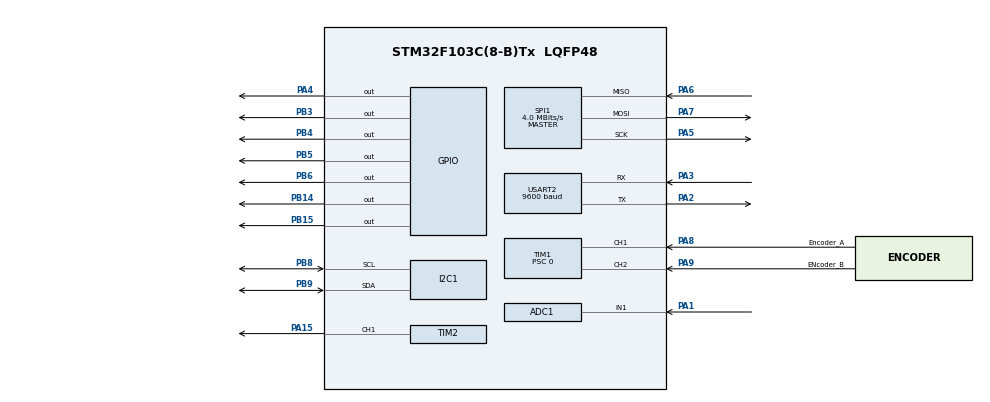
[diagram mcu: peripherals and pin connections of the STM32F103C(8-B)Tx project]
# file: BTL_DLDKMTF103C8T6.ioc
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ADC1.Channel-1\#ChannelRegularConversion=ADC_CHANNEL_1
ADC1.NbrOfConversionFlag=1
ADC1.Rank-1\#ChannelRegularConversion=1
ADC1.SamplingTime-1\#ChannelRegularConversion=ADC_SAMPLETIME_1CYCLE_5
ADC1.master=1
Dma.Request0=USART2_RX
Dma.Request1=USART2_TX
Dma.USART2_RX.0.Direction=DMA_PERIPH_TO_MEMORY
Dma.USART2_RX.0.Instance=DMA1_Channel6
Dma.USART2_RX.0.MemDataAlignment=DMA_MDATAALIGN_BYTE
Dma.USART2_RX.0.MemInc=DMA_MINC_ENABLE
Dma.USART2_RX.0.Mode=DMA_NORMAL
Dma.USART2_RX.0.PeriphDataAlignment=DMA_PDATAALIGN_BYTE
Dma.USART2_RX.0.PeriphInc=DMA_PINC_DISABLE
Dma.USART2_RX.0.Priority=DMA_PRIORITY_LOW
Dma.USART2_TX.1.Direction=DMA_MEMORY_TO_PERIPH
Dma.USART2_TX.1.Instance=DMA1_Channel7
Dma.USART2_TX.1.MemDataAlignment=DMA_MDATAALIGN_BYTE
Dma.USART2_TX.1.MemInc=DMA_MINC_ENABLE
Dma.USART2_TX.1.Mode=DMA_NORMAL
Dma.USART2_TX.1.PeriphDataAlignment=DMA_PDATAALIGN_BYTE
Dma.USART2_TX.1.PeriphInc=DMA_PINC_DISABLE
Dma.USART2_TX.1.Priority=DMA_PRIORITY_LOW
Mcu.Family=STM32F1
Mcu.Name=STM32F103C(8-B)Tx
Mcu.Package=LQFP48
NVIC.DMA1_Channel6_IRQn=true\:0\:0\:false\:false\:true\:false\:true\:true
NVIC.DMA1_Channel7_IRQn=true\:0\:0\:false\:false\:true\:false\:true\:true
NVIC.PriorityGroup=NVIC_PRIORITYGROUP_4
NVIC.TIM3_IRQn=true\:0\:0\:false\:false\:true\:true\:true\:true
NVIC.USART2_IRQn=true\:0\:0\:false\:false\:true\:true\:true\:true
PA1.Signal=ADCx_IN1
PA13.Mode=Serial_Wire
PA13.Signal=SYS_JTMS-SWDIO
PA14.Mode=Serial_Wire
PA14.Signal=SYS_JTCK-SWCLK
PA15.Signal=S_TIM2_CH1_ETR
PA2.Mode=Asynchronous
PA2.Signal=USART2_TX
PA3.Mode=Asynchronous
PA3.Signal=USART2_RX
PA4.GPIO_PuPd=GPIO_NOPULL
PA4.Signal=GPIO_Output
PA5.Mode=Full_Duplex_Master
PA5.Signal=SPI1_SCK
PA6.Mode=Full_Duplex_Master
PA6.Signal=SPI1_MISO
PA7.Mode=Full_Duplex_Master
PA7.Signal=SPI1_MOSI
PA8.GPIO_Label=Encoder_A
PA8.Signal=S_TIM1_CH1
PA9.GPIO_Label=ENcoder_B
PA9.Signal=S_TIM1_CH2
PB14.Signal=GPIO_Output
PB15.Signal=GPIO_Output
PB3.Signal=GPIO_Output
PB4.Signal=GPIO_Output
PB5.Signal=GPIO_Output
PB6.Signal=GPIO_Output
PB8.Mode=I2C
PB8.Signal=I2C1_SCL
PB9.Mode=I2C
PB9.Signal=I2C1_SDA
PD0-OSC_IN.Mode=HSE-External-Oscillator
PD0-OSC_IN.Signal=RCC_OSC_IN
PD1-OSC_OUT.Mode=HSE-External-Oscillator
PD1-OSC_OUT.Signal=RCC_OSC_OUT
ProjectManager.HeapSize=0x200
ProjectManager.StackSize=0x400
ProjectManager.TargetToolchain=STM32CubeIDE
RCC.APB1Freq_Value=8000000
RCC.APB2Freq_Value=8000000
SH.ADCx_IN1.0=ADC1_IN1,IN1
SH.S_TIM1_CH1.0=TIM1_CH1,Encoder_Interface
SH.S_TIM1_CH2.0=TIM1_CH2,Encoder_Interface
SH.S_TIM2_CH1_ETR.0=TIM2_CH1,PWM Generation1 CH1
SPI1.CalculateBaudRate=4.0 MBits/s
SPI1.Direction=SPI_DIRECTION_2LINES
SPI1.Mode=SPI_MODE_MASTER
SPI1.VirtualType=VM_MASTER
TIM1.EncoderMode=TIM_ENCODERMODE_TI12
TIM1.Period=65535
TIM1.Prescaler=0
TIM2.Channel-PWM\ Generation1\ CH1=TIM_CHANNEL_1
TIM2.Period=999
TIM2.Prescaler=7
TIM3.Period=999
TIM3.Prescaler=79
USART2.BaudRate=9600
USART2.VirtualMode=VM_ASYNC
VP_TIM3_VS_ClockSourceINT.Mode=Internal
board=custom

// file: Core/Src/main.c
/* USER CODE BEGIN Header */
/**
  ******************************************************************************
  * @file           : main.c
  * @brief          : Main program body
  ******************************************************************************
  * @attention
  *
  * Copyright (c) 2025 STMicroelectronics.
  * All rights reserved.
  *
  * This software is licensed under terms that can be found in the LICENSE file
  * in the root directory of this software component.
  * If no LICENSE file comes with this software, it is provided AS-IS.
  *
  ******************************************************************************
  */
/* USER CODE END Header */
#include "main.h"

/* USER CODE BEGIN Includes */
#include "SPI.h"
#include "Frame.h"
#include <math.h>
#include <motor.h>
#include <string.h>
#include "eprrom.h"

#include"motor.h"
#include"setting_PID.h"
#include"PID.h"
#include"reset_data.h"
#include"read_tick.h"
#include"process_read_tick.h"
#include"control_motor.h"
#include"interrupt.h"

/* USER CODE END Includes */

/* USER CODE BEGIN PM */

#define MAX_PWM 255
float uk = 254;
//tick_engine_rotation = tick_encoder_rotation*gear_ratio = 11*34 => read on 1 channel
#define PRES_TIM2 799 		// timer_clk = 0.1ms => T_period = 0.1*255 = 25.5 ms => f = 39.21 hz
/*SET UP TIMER 3*/
#define PRES_TIM3	7999 	// => timer_clk = 0.1 ms
#define resolution  1000 	// resolution = T / timer_clk = 10 ms / 0.1 ms = 100 hz
uint16_t counter_period = resolution - 1;
volatile uint8_t flag_10ms = 0,flag_1ms = 0,flag_1s = 0;

/*PID PARAMETER*/
double kp,ki,kd;
float output_val;
float setpoint_val;
uint8_t flag_start = 0,flag = 0;
float current_speed = 0;
uint16_t current_time,pre_time;
float rev_1m,rev_1s,tick_1s;
int16_t current_tick = 0,pre_tick = 0,now_tick = 0;
uint16_t tick_rpm = 0;

float out_pwm = 0;

frame_t transmit;
uint8_t RX_data[100];
uint8_t *tran_data;
uint16_t frameSize = 0;
uint8_t is_transmitting = 0;
uint8_t decode_payload[100] ;
uint8_t check_da[100] = {0};
uint8_t check_re[100] = {0};
uint8_t decode_frame[100];
uint8_t check_flag_complete_transmit = 0;
float position[4] = {0};
uint8_t flag_pos_mode = 0;
uint8_t floattobyte[4] = {0};
uint8_t trans_data[5000] = {0};
/* USER CODE END PM */

ADC_HandleTypeDef hadc1;

I2C_HandleTypeDef hi2c1;

SPI_HandleTypeDef hspi1;

TIM_HandleTypeDef htim1;
TIM_HandleTypeDef htim2;
TIM_HandleTypeDef htim3;

UART_HandleTypeDef huart2;
DMA_HandleTypeDef hdma_usart2_rx;
DMA_HandleTypeDef hdma_usart2_tx;

void SystemClock_Config(void);
static void MX_GPIO_Init(void);
static void MX_DMA_Init(void);
static void MX_SPI1_Init(void);
static void MX_TIM1_Init(void);
static void MX_USART2_UART_Init(void);
static void MX_I2C1_Init(void);
static void MX_TIM2_Init(void);
static void MX_TIM3_Init(void);
static void MX_ADC1_Init(void);

/* USER CODE BEGIN 0 */

void HAL_TIM_PeriodElapsedCallback(TIM_HandleTypeDef *htim){
	if (htim == &htim1 && is_transmitting == 0 && tran_data != NULL) {
	        is_transmitting = 1;  // Đánh dấu đang truyền
	        HAL_UART_Transmit_DMA(&huart2, tran_data,transmit.length + 7);
	}
	if(htim == &htim3){
		flag_10ms = 1;
	}
}
void Xuat_PWM_1(float Duty_Cycle)
{
	Duty_Cycle = Duty_Cycle*__HAL_TIM_GET_AUTORELOAD(&htim2)/100;
	__HAL_TIM_SET_COMPARE(&htim2,TIM_CHANNEL_1,Duty_Cycle);
}
void test_rev_1m(){
			//cach 1
	  	  	/*current_time = HAL_GetTick();
		  	if(current_time - pre_time >= 1000){
		  		current_tick = __HAL_TIM_GET_COUNTER(&htim1);
		  		tick_1s = current_tick - pre_tick;
		  	    rev_1s = tick_1s / tick_per_revolution;
		  	    rev_1m = rev_1s * 60;
		  	    pre_tick = current_tick;
		  	    pre_time = current_time;
		  	 }*/
		  	//cach 2
			if(flag_1s == 1){
				current_tick = __HAL_TIM_GET_COUNTER(&htim1);
				tick_1s = current_tick - pre_tick;
				rev_1s = tick_1s / 999;
				rev_1m = rev_1s * 60;
				pre_tick = current_tick;
				flag_1s = 0;
			}
		  	 HAL_GPIO_WritePin(GPIOB, GPIO_PIN_14,GPIO_PIN_RESET);
		     HAL_GPIO_WritePin(GPIOB, GPIO_PIN_15,GPIO_PIN_SET);

		     //Xuat_PWM_1(&htim2,TIM_CHANNEL_1,25);
}

void HAL_UARTEx_RxEventCallback(UART_HandleTypeDef *huart, uint16_t Size){
	if (huart != &huart2) return;

	    // nếu là half‑transfer (Size gần bằng half buffer) thì bỏ qua
	if (Size < 7) {
	        // re‑arm DMA và exit
	    HAL_UARTEx_ReceiveToIdle_DMA(huart, RX_data, sizeof(RX_data));
	    return;
	}
	check_flag_complete_transmit = 1;
	//transmit.length = floorf(5000/rx_data)*4; // so mau can lay
	//SendADCValue(&transmit); // sua cai nay
//	frameSize = 7 + transmit.length*4; //
//	tran_data = calloc(frameSize,sizeof(uint8_t));
//	packframe(tran_data, &transmit, 0x20);
//	HAL_TIM_Base_Start_IT(&htim1);
	HAL_UARTEx_ReceiveToIdle_DMA(&huart2, RX_data, 100);
}
void HAL_UART_TxCpltCallback(UART_HandleTypeDef *huart) {
    if (huart == &huart2) {
        free(tran_data);
        is_transmitting = 0;
    }
}
uint8_t check_data[5]={0};

motor_name motor;

// global hoặc static trong file
static uint16_t enc_last_cnt;
static int32_t  enc_accum_cnt;
uint8_t flag_velocity_0x70 = 0;
uint8_t flag_velocity_0x71 = 0;
uint8_t flag_velocity_0x72 = 0;
int16_t velocity = 0;
uint8_t duty = 0;
void Quay_Thuan()
{
	HAL_GPIO_WritePin(GPIOB ,GPIO_PIN_14, 0);
	HAL_GPIO_WritePin(GPIOB, GPIO_PIN_15, 1);
}
void Quay_Nghich()
{
	HAL_GPIO_WritePin(GPIOB ,GPIO_PIN_14, 1);
	HAL_GPIO_WritePin(GPIOB, GPIO_PIN_15, 0);
}
void Ngung()
{
	HAL_GPIO_WritePin(GPIOB ,GPIO_PIN_14, 0);
	HAL_GPIO_WritePin(GPIOB, GPIO_PIN_15, 0);
}
// global (hoặc static ở đầu file)
static uint16_t prev_cnt = 0;    // lưu giá trị counter lần trước
const float dt = 0.01f;          // 10 ms
const float ticks_per_rev = 1600; // nếu 1600 tick = 1 vòng
float calculate_rpm(void)
{
    // đọc counter 16‑bit
    uint16_t cnt = __HAL_TIM_GET_COUNTER(&htim3);

    // tính delta (có bù tràn tự động khi ép sang int16_t)
    int16_t diff = (int16_t)(cnt - prev_cnt);

    // cập nhật prev_cnt cho lần sau
    prev_cnt = cnt;

    // tính RPM: (số vòng = diff/ticks_per_rev), nhân 60/dt
    return (diff / ticks_per_rev) * (60.0f / dt);
}
float velocity_1;
float vel[4] = {0};
// gọi 1 lần sau khi start encoder

/* USER CODE END 0 */

int main(void)
{

  /* MCU Configuration--------------------------------------------------------*/

  /* Reset of all peripherals, Initializes the Flash interface and the Systick. */
  HAL_Init();

  /* Configure the system clock */
  SystemClock_Config();

  /* Initialize all configured peripherals */
  MX_GPIO_Init();
  MX_DMA_Init();
  MX_SPI1_Init();
  MX_TIM1_Init();
  MX_USART2_UART_Init();
  MX_I2C1_Init();
  MX_TIM2_Init();
  MX_TIM3_Init();
  MX_ADC1_Init();
  /* USER CODE BEGIN 2 */
  init_motor(&motor,GPIOB,GPIO_PIN_14,GPIOB,GPIO_PIN_15,TIM_CHANNEL_1,TIM_CHANNEL_2,TIM_CHANNEL_1);
  HAL_UARTEx_ReceiveToIdle_DMA(&huart2, RX_data, 100);
  HAL_TIM_Encoder_Start(&htim1,TIM_CHANNEL_1|TIM_CHANNEL_2);
  HAL_TIM_PWM_Start(&htim2, TIM_CHANNEL_1);
  HAL_TIM_Base_Start_IT(&htim3);
  uint8_t value[8]={0};
  Send_Value(value);

  /* USER CODE END 2 */

  /* Infinite loop */
  /* USER CODE BEGIN WHILE */
  while (1)
  {
	  Quay_Thuan();
	  		  		Xuat_PWM_1(100);
	  if(check_flag_complete_transmit == 1){
		  uint16_t addr = 0;
		  	uint8_t bytes = 0;
		  	//uint32_t rx_data = 0;
		  	Decode_frame(RX_data, &transmit);
		  	switch(transmit.command){
		  	case 0x21:
		  		HAL_GPIO_TogglePin(GPIOB, GPIO_PIN_3);
		  		break;
		  	case 0x22:
		  		HAL_GPIO_TogglePin(GPIOB,GPIO_PIN_4);
		  		break;
		  	case 0x23:
		  		HAL_GPIO_TogglePin(GPIOB,GPIO_PIN_5);
		  		break;
		  	case 0x30:
		  		bytes = transmit.length - 3;
		  		Decode_Payload(decode_payload, &transmit, &addr, &bytes);
		  		memcpy(check_da,decode_payload,bytes);
		  		EEPRROM_WriteBuffer(&hi2c1,addr,decode_payload,bytes);
		  		break;
		  	case 0x31:
		  		bytes = transmit.length - 3;
		  		Decode_Payload(decode_payload,&transmit,&addr,&bytes);
		  		EEPRROM_ReadBuffer(&hi2c1,addr,decode_payload,bytes);
		  		tran_data = calloc(frameSize,sizeof(uint8_t));
		  		transmit.length = bytes;
		  		packframe(tran_data, &transmit, decode_payload, 0x31);
		  		memcpy(check_re,tran_data,transmit.length + 7);
		  		HAL_UART_Transmit_DMA(&huart2, tran_data, transmit.length + 7);
		  		break;
		  	case 0x40:
		  		Send_Value(transmit.payload);
		  		break;
		  	case 0x60:  // control position
		  		Decode_Position(position, &transmit);
		  		kp = position[1];
		  		ki = position[2];
		  		kd = position[3];
		  		motor.setpoint_val = position[0];   // lấy mục tiêu từ payload
		  		// reset lịch sử lỗi & output để P tính ngay lập tức
		  		reset_data(&motor);
		  		flag_start   = 1;
		  		flag_pos_mode = 1;// bật chế độ PID
		  		break;
		  	case 0x70:
		  		Quay_Thuan();
		  		Xuat_PWM_1(transmit.payload[0]);
		  		flag_velocity_0x70 = 1;
		  		break;
		  	case 0x71:
		  		Quay_Nghich();
		  		Xuat_PWM_1(transmit.payload[0]);
		  		flag_velocity_0x71 = 1;
		  		break;
		  	case 0x72:
		  		Ngung();
		  		Xuat_PWM_1(transmit.payload[0]);
		  		flag_velocity_0x72 = 1;
		  	case 0x80:
		  		flag_velocity_0x70 = 0;
		  		flag_velocity_0x71 = 0;
		  		flag_velocity_0x72 = 0;
		  		flag_start = 0;
		  		break;
		  	}

		  	check_flag_complete_transmit = 0;
	  }
	  if (flag_10ms) {
		  output_val = calculate_current_angle(&motor);
		  if (flag_start) {
			  motor.kp = kp;
			  motor.ki = ki;
			  motor.kd = kd;
			  out_pwm = PID_Calculation(&motor, motor.setpoint_val, output_val);
			  control_motor_status(&motor,out_pwm);
			  // nếu đã sát đích, tắt điều khiển
			  if(fabs(motor.setpoint_val - output_val) < 2.0f) {
				  flag_start = 0;
				  flag_pos_mode = 0;
				  // và có thể dừng motor hẳn:
				  control_motor_status(&motor, 0);
			      }
		  }else{
			  out_pwm = 0;
			  output_val = 0;
			  PID_INIT_PARAM(&motor, setpoint_val, motor.kp, ki, kd);
		  }
		  if(flag_pos_mode && !is_transmitting){
			  transmit.length = 4;

			  FloatToBytes(output_val, floattobyte);
			  packframe(trans_data, &transmit, floattobyte, 0x60);
			  memcpy(check_da,trans_data,sizeof(uint8_t));
			  HAL_UART_Transmit_DMA(&huart2, trans_data, transmit.length + 7);
		  }
		  if(flag_velocity_0x70){
			  velocity = calculate_rpm();
			  FloatToBytes(velocity_1,vel);
			  packframe(trans_data,&transmit,vel,0x70);
			  HAL_UART_Transmit_DMA(&huart2, trans_data, 7 + transmit.length);
		  }
		  if(flag_velocity_0x71){
			  velocity = calculate_rpm();
			  FloatToBytes(velocity_1,vel);
			  packframe(trans_data, &transmit,vel,0x70);
			  HAL_UART_Transmit_DMA(&huart2, trans_data, 7 + transmit.length);
		  }
		  if(flag_velocity_0x72){
			  velocity = calculate_rpm();
			  FloatToBytes(velocity_1,vel);
			  packframe(trans_data, &transmit,vel,0x70);
			  HAL_UART_Transmit_DMA(&huart2, trans_data, 7 + transmit.length);
		  }
		  flag_10ms = 0;
	  }

  }
    /* USER CODE END WHILE */

}

void SystemClock_Config(void)
{
  RCC_OscInitTypeDef RCC_OscInitStruct = {0};
  RCC_ClkInitTypeDef RCC_ClkInitStruct = {0};
  RCC_PeriphCLKInitTypeDef PeriphClkInit = {0};

  /** Initializes the RCC Oscillators according to the specified parameters
  * in the RCC_OscInitTypeDef structure.
  */
  RCC_OscInitStruct.OscillatorType = RCC_OSCILLATORTYPE_HSI;
  RCC_OscInitStruct.HSIState = RCC_HSI_ON;
  RCC_OscInitStruct.HSICalibrationValue = RCC_HSICALIBRATION_DEFAULT;
  RCC_OscInitStruct.PLL.PLLState = RCC_PLL_NONE;
  if (HAL_RCC_OscConfig(&RCC_OscInitStruct) != HAL_OK)
  {
    Error_Handler();
  }

  /** Initializes the CPU, AHB and APB buses clocks
  */
  RCC_ClkInitStruct.ClockType = RCC_CLOCKTYPE_HCLK|RCC_CLOCKTYPE_SYSCLK
                              |RCC_CLOCKTYPE_PCLK1|RCC_CLOCKTYPE_PCLK2;
  RCC_ClkInitStruct.SYSCLKSource = RCC_SYSCLKSOURCE_HSI;
  RCC_ClkInitStruct.AHBCLKDivider = RCC_SYSCLK_DIV1;
  RCC_ClkInitStruct.APB1CLKDivider = RCC_HCLK_DIV1;
  RCC_ClkInitStruct.APB2CLKDivider = RCC_HCLK_DIV1;

  if (HAL_RCC_ClockConfig(&RCC_ClkInitStruct, FLASH_LATENCY_0) != HAL_OK)
  {
    Error_Handler();
  }
  PeriphClkInit.PeriphClockSelection = RCC_PERIPHCLK_ADC;
  PeriphClkInit.AdcClockSelection = RCC_ADCPCLK2_DIV2;
  if (HAL_RCCEx_PeriphCLKConfig(&PeriphClkInit) != HAL_OK)
  {
    Error_Handler();
  }
}

static void MX_ADC1_Init(void)
{

  ADC_ChannelConfTypeDef sConfig = {0};

  /** Common config
  */
  hadc1.Instance = ADC1;
  hadc1.Init.ScanConvMode = ADC_SCAN_DISABLE;
  hadc1.Init.ContinuousConvMode = DISABLE;
  hadc1.Init.DiscontinuousConvMode = DISABLE;
  hadc1.Init.ExternalTrigConv = ADC_SOFTWARE_START;
  hadc1.Init.DataAlign = ADC_DATAALIGN_RIGHT;
  hadc1.Init.NbrOfConversion = 1;
  if (HAL_ADC_Init(&hadc1) != HAL_OK)
  {
    Error_Handler();
  }

  /** Configure Regular Channel
  */
  sConfig.Channel = ADC_CHANNEL_1;
  sConfig.Rank = ADC_REGULAR_RANK_1;
  sConfig.SamplingTime = ADC_SAMPLETIME_1CYCLE_5;
  if (HAL_ADC_ConfigChannel(&hadc1, &sConfig) != HAL_OK)
  {
    Error_Handler();
  }

}

static void MX_I2C1_Init(void)
{

  hi2c1.Instance = I2C1;
  hi2c1.Init.ClockSpeed = 100000;
  hi2c1.Init.DutyCycle = I2C_DUTYCYCLE_2;
  hi2c1.Init.OwnAddress1 = 0;
  hi2c1.Init.AddressingMode = I2C_ADDRESSINGMODE_7BIT;
  hi2c1.Init.DualAddressMode = I2C_DUALADDRESS_DISABLE;
  hi2c1.Init.OwnAddress2 = 0;
  hi2c1.Init.GeneralCallMode = I2C_GENERALCALL_DISABLE;
  hi2c1.Init.NoStretchMode = I2C_NOSTRETCH_DISABLE;
  if (HAL_I2C_Init(&hi2c1) != HAL_OK)
  {
    Error_Handler();
  }

}

static void MX_SPI1_Init(void)
{

  /* SPI1 parameter configuration*/
  hspi1.Instance = SPI1;
  hspi1.Init.Mode = SPI_MODE_MASTER;
  hspi1.Init.Direction = SPI_DIRECTION_2LINES;
  hspi1.Init.DataSize = SPI_DATASIZE_8BIT;
  hspi1.Init.CLKPolarity = SPI_POLARITY_LOW;
  hspi1.Init.CLKPhase = SPI_PHASE_1EDGE;
  hspi1.Init.NSS = SPI_NSS_SOFT;
  hspi1.Init.BaudRatePrescaler = SPI_BAUDRATEPRESCALER_2;
  hspi1.Init.FirstBit = SPI_FIRSTBIT_MSB;
  hspi1.Init.TIMode = SPI_TIMODE_DISABLE;
  hspi1.Init.CRCCalculation = SPI_CRCCALCULATION_DISABLE;
  hspi1.Init.CRCPolynomial = 10;
  if (HAL_SPI_Init(&hspi1) != HAL_OK)
  {
    Error_Handler();
  }

}

static void MX_TIM1_Init(void)
{

  TIM_Encoder_InitTypeDef sConfig = {0};
  TIM_MasterConfigTypeDef sMasterConfig = {0};

  htim1.Instance = TIM1;
  htim1.Init.Prescaler = 0;
  htim1.Init.CounterMode = TIM_COUNTERMODE_UP;
  htim1.Init.Period = 65535;
  htim1.Init.ClockDivision = TIM_CLOCKDIVISION_DIV1;
  htim1.Init.RepetitionCounter = 0;
  htim1.Init.AutoReloadPreload = TIM_AUTORELOAD_PRELOAD_DISABLE;
  sConfig.EncoderMode = TIM_ENCODERMODE_TI12;
  sConfig.IC1Polarity = TIM_ICPOLARITY_RISING;
  sConfig.IC1Selection = TIM_ICSELECTION_DIRECTTI;
  sConfig.IC1Prescaler = TIM_ICPSC_DIV1;
  sConfig.IC1Filter = 0;
  sConfig.IC2Polarity = TIM_ICPOLARITY_RISING;
  sConfig.IC2Selection = TIM_ICSELECTION_DIRECTTI;
  sConfig.IC2Prescaler = TIM_ICPSC_DIV1;
  sConfig.IC2Filter = 0;
  if (HAL_TIM_Encoder_Init(&htim1, &sConfig) != HAL_OK)
  {
    Error_Handler();
  }
  sMasterConfig.MasterOutputTrigger = TIM_TRGO_RESET;
  sMasterConfig.MasterSlaveMode = TIM_MASTERSLAVEMODE_DISABLE;
  if (HAL_TIMEx_MasterConfigSynchronization(&htim1, &sMasterConfig) != HAL_OK)
  {
    Error_Handler();
  }

}

static void MX_TIM2_Init(void)
{

  TIM_MasterConfigTypeDef sMasterConfig = {0};
  TIM_OC_InitTypeDef sConfigOC = {0};

  htim2.Instance = TIM2;
  htim2.Init.Prescaler = 7;
  htim2.Init.CounterMode = TIM_COUNTERMODE_UP;
  htim2.Init.Period = 999;
  htim2.Init.ClockDivision = TIM_CLOCKDIVISION_DIV1;
  htim2.Init.AutoReloadPreload = TIM_AUTORELOAD_PRELOAD_DISABLE;
  if (HAL_TIM_PWM_Init(&htim2) != HAL_OK)
  {
    Error_Handler();
  }
  sMasterConfig.MasterOutputTrigger = TIM_TRGO_RESET;
  sMasterConfig.MasterSlaveMode = TIM_MASTERSLAVEMODE_DISABLE;
  if (HAL_TIMEx_MasterConfigSynchronization(&htim2, &sMasterConfig) != HAL_OK)
  {
    Error_Handler();
  }
  sConfigOC.OCMode = TIM_OCMODE_PWM1;
  sConfigOC.Pulse = 0;
  sConfigOC.OCPolarity = TIM_OCPOLARITY_HIGH;
  sConfigOC.OCFastMode = TIM_OCFAST_DISABLE;
  if (HAL_TIM_PWM_ConfigChannel(&htim2, &sConfigOC, TIM_CHANNEL_1) != HAL_OK)
  {
    Error_Handler();
  }
  HAL_TIM_MspPostInit(&htim2);

}

static void MX_TIM3_Init(void)
{

  TIM_ClockConfigTypeDef sClockSourceConfig = {0};
  TIM_MasterConfigTypeDef sMasterConfig = {0};

  htim3.Instance = TIM3;
  htim3.Init.Prescaler = 79;
  htim3.Init.CounterMode = TIM_COUNTERMODE_UP;
  htim3.Init.Period = 999;
  htim3.Init.ClockDivision = TIM_CLOCKDIVISION_DIV1;
  htim3.Init.AutoReloadPreload = TIM_AUTORELOAD_PRELOAD_DISABLE;
  if (HAL_TIM_Base_Init(&htim3) != HAL_OK)
  {
    Error_Handler();
  }
  sClockSourceConfig.ClockSource = TIM_CLOCKSOURCE_INTERNAL;
  if (HAL_TIM_ConfigClockSource(&htim3, &sClockSourceConfig) != HAL_OK)
  {
    Error_Handler();
  }
  sMasterConfig.MasterOutputTrigger = TIM_TRGO_RESET;
  sMasterConfig.MasterSlaveMode = TIM_MASTERSLAVEMODE_DISABLE;
  if (HAL_TIMEx_MasterConfigSynchronization(&htim3, &sMasterConfig) != HAL_OK)
  {
    Error_Handler();
  }

}

static void MX_USART2_UART_Init(void)
{

  huart2.Instance = USART2;
  huart2.Init.BaudRate = 9600;
  huart2.Init.WordLength = UART_WORDLENGTH_8B;
  huart2.Init.StopBits = UART_STOPBITS_1;
  huart2.Init.Parity = UART_PARITY_NONE;
  huart2.Init.Mode = UART_MODE_TX_RX;
  huart2.Init.HwFlowCtl = UART_HWCONTROL_NONE;
  huart2.Init.OverSampling = UART_OVERSAMPLING_16;
  if (HAL_UART_Init(&huart2) != HAL_OK)
  {
    Error_Handler();
  }

}

static void MX_DMA_Init(void)
{

  /* DMA controller clock enable */
  __HAL_RCC_DMA1_CLK_ENABLE();

  /* DMA interrupt init */
  /* DMA1_Channel6_IRQn interrupt configuration */
  HAL_NVIC_SetPriority(DMA1_Channel6_IRQn, 0, 0);
  HAL_NVIC_EnableIRQ(DMA1_Channel6_IRQn);
  /* DMA1_Channel7_IRQn interrupt configuration */
  HAL_NVIC_SetPriority(DMA1_Channel7_IRQn, 0, 0);
  HAL_NVIC_EnableIRQ(DMA1_Channel7_IRQn);

}

static void MX_GPIO_Init(void)
{
  GPIO_InitTypeDef GPIO_InitStruct = {0};

  /* GPIO Ports Clock Enable */
  __HAL_RCC_GPIOD_CLK_ENABLE();
  __HAL_RCC_GPIOA_CLK_ENABLE();
  __HAL_RCC_GPIOB_CLK_ENABLE();

  /*Configure GPIO pin Output Level */
  HAL_GPIO_WritePin(GPIOA, GPIO_PIN_4, GPIO_PIN_RESET);

  /*Configure GPIO pin Output Level */
  HAL_GPIO_WritePin(GPIOB, GPIO_PIN_14|GPIO_PIN_15|GPIO_PIN_3|GPIO_PIN_4
                          |GPIO_PIN_5|GPIO_PIN_6, GPIO_PIN_RESET);

  /*Configure GPIO pin : PA4 */
  GPIO_InitStruct.Pin = GPIO_PIN_4;
  GPIO_InitStruct.Mode = GPIO_MODE_OUTPUT_PP;
  GPIO_InitStruct.Pull = GPIO_NOPULL;
  GPIO_InitStruct.Speed = GPIO_SPEED_FREQ_LOW;
  HAL_GPIO_Init(GPIOA, &GPIO_InitStruct);

  /*Configure GPIO pins : PB14 PB15 PB3 PB4
                           PB5 PB6 */
  GPIO_InitStruct.Pin = GPIO_PIN_14|GPIO_PIN_15|GPIO_PIN_3|GPIO_PIN_4
                          |GPIO_PIN_5|GPIO_PIN_6;
  GPIO_InitStruct.Mode = GPIO_MODE_OUTPUT_PP;
  GPIO_InitStruct.Pull = GPIO_NOPULL;
  GPIO_InitStruct.Speed = GPIO_SPEED_FREQ_LOW;
  HAL_GPIO_Init(GPIOB, &GPIO_InitStruct);

}

void Error_Handler(void)
{
  __disable_irq();
  while (1)
  {
  }
}
